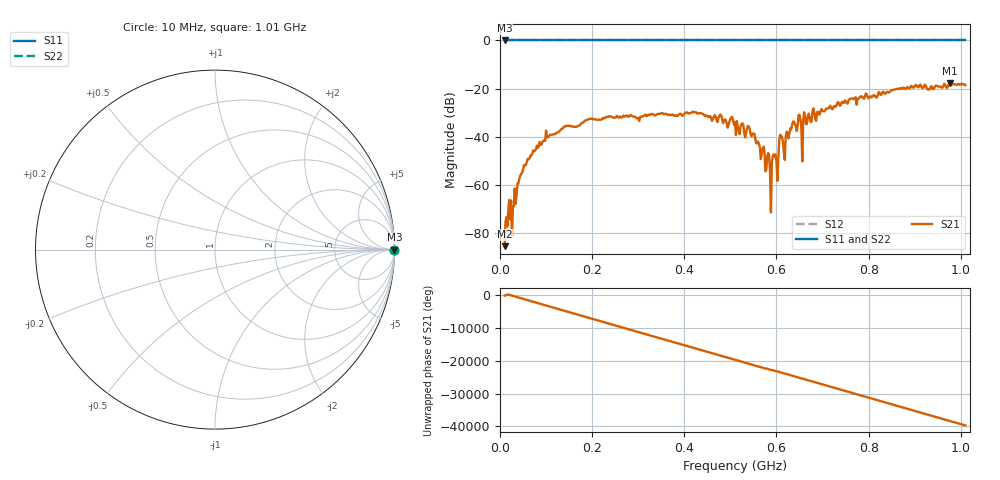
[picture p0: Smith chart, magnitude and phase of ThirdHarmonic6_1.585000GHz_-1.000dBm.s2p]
! 8/16/2025 6:52:30 PM
! C:\ANRITSUVNA\TEMP\TEMP.S2P
! CHANNEL.1
! TR.MEASUREMENT
! RAW.DATA
! RF.CORRECTION.OFF
! AVERAGING.OFF
! IF.BANDWIDTH: 5KHZ
! SWEEPTYPE:  FREQ.SWEEP(Linear)
! Reference Plane Port Info
! PORT:  PORT1  PORT2
! DISTANCE:  0  m  0  m
! TIME:  0  s  0  s
! PHASE.OFFSET:  0  deg.  0  deg.
! LOSS:  0  dB  0  dB
! REF.LOSS:  0  dB  0  dB
! REF.FREQ:  0  Hz  0  Hz
! Power Info
! POWER:  -20  dBm  -20  dBm
! EFF.POWER:  -20  dBm  -20  dBm
! SOURCE.ATTEN:  0  dB  0  dB
! TEST.ATTEN:  0  dB  0  dB
# GHZ S RI R 50.0
! FREQ.GHZ  S11RE  S11IM  S21RE  S21IM  S12RE  S12IM  S22RE  S22IM
!; PortSelection: Port_12
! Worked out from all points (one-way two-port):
!   501 points, 10 MHz to 1.01 GHz, reference 50 ohm
!   highest |S21| = -17.77 dB at 976 MHz (marker M1); lowest = -85.4 dB at 10 MHz (marker M2)
!   lowest |S11| = 0.0 dB at 10 MHz (marker M3)
!   |S11| at or under -10 dB: nowhere
!   |S22| runs from 0.0 to 0.0 dB; largest |S21 - S12| = 1.1
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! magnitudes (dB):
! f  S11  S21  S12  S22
! 10 MHz  0.0  -85.4  0.0  0.0
! 30 MHz  0.0  -68.8  0.0  0.0
! 48 MHz  0.0  -54.9  0.0  0.0
! 76 MHz  0.0  -45.8  0.0  0.0
! 104 MHz  0.0  -40.2  0.0  0.0
! 178 MHz  0.0  -34.2  0.0  0.0
! 344 MHz  0.0  -30.5  0.0  0.0
! 422 MHz  0.0  -29.9  0.0  0.0
! 510 MHz  0.0  -33.8  0.0  0.0
! 540 MHz  0.0  -35.7  0.0  0.0
! 588 MHz  0.0  -71.4  0.0  0.0
! 594 MHz  0.0  -47.2  0.0  0.0
! 600 MHz  0.0  -50.2  0.0  0.0
! 610 MHz  0.0  -39.5  0.0  0.0
! 616 MHz  0.0  -46.2  0.0  0.0
! 634 MHz  0.0  -35.0  0.0  0.0
! 650 MHz  0.0  -30.9  0.0  0.0
! 654 MHz  0.0  -36.4  0.0  0.0
! 678 MHz  0.0  -29.7  0.0  0.0
! 844 MHz  0.0  -21.6  0.0  0.0
! 976 MHz  0.0  -17.8  0.0  0.0
! 1.01 GHz  0.0  -18.5  0.0  0.0
